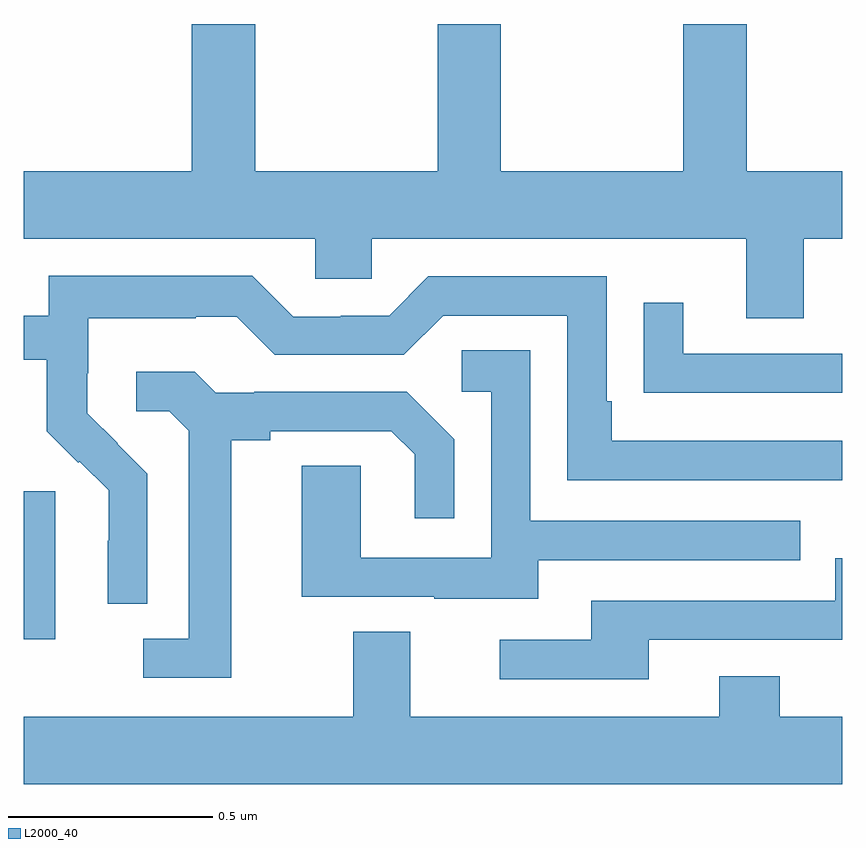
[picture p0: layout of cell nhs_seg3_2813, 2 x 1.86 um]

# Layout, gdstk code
import gdstk
lib = gdstk.Library(unit=1e-6, precision=1e-09)
def R(c, l, rs):  # rectangles x0, y0, x1, y1
    for r in rs: c.add(gdstk.rectangle(r[:2], r[2:], *l))
def P(c, l, *ps):  # polygons
    for p in ps: c.add(gdstk.Polygon(p, *l))
L2000_40 = (2000, 40)

nhs_seg3_2813 = lib.new_cell('nhs_seg3_2813')
R(nhs_seg3_2813, L2000_40, [(145,739.898,145.078,740.259)])
P(nhs_seg3_2813, L2000_40, [(146.905,740.876),(147,740.876),(147,741.04),(146.766,741.04),(146.766,741.4),(146.611,741.4),(146.611,741.04),(146.166,741.04),(146.166,741.4),(146.011,741.4),(146.011,741.04),(145.566,741.04),(145.566,741.4),(145.411,741.4),(145.411,741.04),(145,741.04),(145,740.876),(145.713,740.876),(145.713,740.778),(145.851,740.778),(145.851,740.876),(146.765,740.876),(146.765,740.682),(146.905,740.682)],
  [(145.302,740.302),(145.229,740.375),(145.23,740.376),(145.156,740.45),(145.156,740.547),(145.158,740.547),(145.158,740.681),(145.421,740.681),(145.421,740.685),(145.521,740.685),(145.614,740.592),(145.929,740.592),(146.025,740.688),(146.328,740.688),(146.328,740.286),(147,740.286),(147,740.382),(146.437,740.382),(146.437,740.479),(146.424,740.479),(146.424,740.784),(145.989,740.784),(145.893,740.688),(145.775,740.688),(145.775,740.685),(145.659,740.685),(145.559,740.785),(145.062,740.785),(145.062,740.688),(145,740.688),(145,740.58),(145.057,740.58),(145.057,740.405),(145.134,740.328),(145.137,740.331),(145.208,740.261),(145.208,740.138),(145.206,740.138),(145.206,739.984),(145.302,739.984)],
  [(147,740.595),(146.611,740.595),(146.611,740.719),(146.515,740.719),(146.515,740.5),(146.617,740.5),(146.617,740.499),(147,740.499)],
  [(146.257,740.091),(146.897,740.091),(146.897,740.187),(146.238,740.187),(146.238,740.603),(146.07,740.603),(146.07,740.502),(146.142,740.502),(146.142,740.097),(145.824,740.097),(145.824,740.321),(145.679,740.321),(145.679,740.001),(146.003,740.001),(146.003,739.997),(146.257,739.997)],
  [(145.507,740.384),(145.603,740.384),(145.603,740.406),(145.898,740.406),(145.955,740.349),(145.955,740.193),(146.052,740.193),(146.052,740.386),(145.936,740.502),(145.564,740.502),(145.564,740.499),(145.47,740.499),(145.418,740.551),(145.275,740.551),(145.275,740.454),(145.356,740.454),(145.403,740.407),(145.403,739.899),(145.293,739.899),(145.293,739.803),(145.507,739.803)],
  [(146.527,739.896),(147,739.896),(147,740.095),(146.982,740.095),(146.982,739.992),(146.387,739.992),(146.387,739.896),(146.163,739.896),(146.163,739.8),(146.527,739.8)],
  [(147,739.708),(146.847,739.708),(146.847,739.807),(146.699,739.807),(146.699,739.708),(145.945,739.708),(145.945,739.916),(145.805,739.916),(145.805,739.708),(145,739.708),(145,739.544),(147,739.544)])

lib.write_gds('nhs_seg3_2813.gds')
